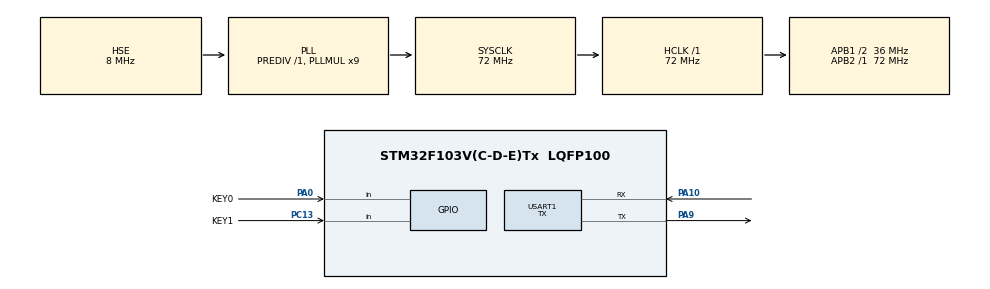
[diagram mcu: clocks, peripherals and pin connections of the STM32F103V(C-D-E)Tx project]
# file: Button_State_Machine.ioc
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FREERTOS.Tasks01=Task1,24,128,StartTask1,Default,NULL,Dynamic,NULL,NULL
Mcu.Family=STM32F1
Mcu.Name=STM32F103V(C-D-E)Tx
Mcu.Package=LQFP100
NVIC.PriorityGroup=NVIC_PRIORITYGROUP_4
NVIC.TIM1_UP_IRQn=true\:5\:0\:false\:false\:true\:true\:true\:true
NVIC.TIM8_UP_IRQn=true\:15\:0\:false\:false\:true\:false\:false\:true
NVIC.TimeBase=TIM8_UP_IRQn
NVIC.TimeBaseIP=TIM8
OSC_IN.Mode=HSE-External-Oscillator
OSC_IN.Signal=RCC_OSC_IN
OSC_OUT.Mode=HSE-External-Oscillator
OSC_OUT.Signal=RCC_OSC_OUT
PA0-WKUP.GPIO_Label=KEY0
PA0-WKUP.GPIO_PuPd=GPIO_PULLDOWN
PA0-WKUP.Signal=GPIO_Input
PA10.Mode=Asynchronous
PA10.Signal=USART1_RX
PA13.Mode=Serial_Wire
PA13.Signal=SYS_JTMS-SWDIO
PA14.Mode=Serial_Wire
PA14.Signal=SYS_JTCK-SWCLK
PA9.Mode=Asynchronous
PA9.Signal=USART1_TX
PC13-TAMPER-RTC.GPIO_Label=KEY1
PC13-TAMPER-RTC.GPIO_PuPd=GPIO_PULLDOWN
PC13-TAMPER-RTC.Signal=GPIO_Input
ProjectManager.HeapSize=0x200
ProjectManager.StackSize=0x400
ProjectManager.TargetToolchain=MDK-ARM V5.32
RCC.AHBFreq_Value=72000000
RCC.APB1CLKDivider=RCC_HCLK_DIV2
RCC.APB1Freq_Value=36000000
RCC.APB1TimFreq_Value=72000000
RCC.APB2Freq_Value=72000000
RCC.APB2TimFreq_Value=72000000
RCC.HCLKFreq_Value=72000000
RCC.PLLMUL=RCC_PLL_MUL9
RCC.PLLSourceVirtual=RCC_PLLSOURCE_HSE
RCC.SYSCLKFreq_VALUE=72000000
RCC.SYSCLKSource=RCC_SYSCLKSOURCE_PLLCLK
RCC.USBFreq_Value=72000000
TIM1.AutoReloadPreload=TIM_AUTORELOAD_PRELOAD_ENABLE
TIM1.Period=7199
TIM1.Prescaler=499
USART1.Mode=MODE_TX
USART1.VirtualMode=VM_ASYNC
VP_FREERTOS_VS_CMSIS_V2.Mode=CMSIS_V2
VP_SYS_VS_tim8.Mode=TIM8
VP_TIM1_VS_ClockSourceINT.Mode=Internal
board=custom

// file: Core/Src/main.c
/* USER CODE BEGIN Header */
/**
  ******************************************************************************
  * @file           : main.c
  * @brief          : Main program body
  ******************************************************************************
  * @attention
  *
  * <h2><center>&copy; Copyright (c) 2021 STMicroelectronics.
  * All rights reserved.</center></h2>
  *
  * This software component is licensed by ST under Ultimate Liberty license
  * SLA0044, the "License"; You may not use this file except in compliance with
  * the License. You may obtain a copy of the License at:
  *                             www.st.com/SLA0044
  *
  ******************************************************************************
  */
/* USER CODE END Header */
#include "main.h"
#include "cmsis_os.h"
#include "tim.h"
#include "usart.h"
#include "gpio.h"

/* USER CODE BEGIN Includes */
#include "mykey.h"
#include "task.h"
/* USER CODE END Includes */

/* USER CODE BEGIN PV */
extern osThreadId_t Task1Handle;
/* USER CODE END PV */

void SystemClock_Config(void);
void MX_FREERTOS_Init(void);

/* USER CODE BEGIN 0 */
/* 告知连接器不从C库链接使用半主机的函数 */
#pragma import(__use_no_semihosting)
/* 定义 _sys_exit() 以避免使用半主机模式 */
void _sys_exit(int x)
{
    x = x;
}
/* 标准库需要的支持类型 */
struct __FILE
{
    int handle;
};

FILE __stdout;

/*重定向printf*/
#ifdef __GNUC__
#define PUTCHAR_PROTOTYPE int __io_putchar(int ch)
#else
#define PUTCHAR_PROTOTYPE int fputc(int ch, FILE *f)
#endif
PUTCHAR_PROTOTYPE
{
    HAL_UART_Transmit(&huart1 , (uint8_t *)&ch, 1, 0xFFFF);
    return ch;
}
/* USER CODE END 0 */

int main(void)
{

  /* MCU Configuration--------------------------------------------------------*/

  /* Reset of all peripherals, Initializes the Flash interface and the Systick. */
  HAL_Init();

  /* Configure the system clock */
  SystemClock_Config();

  /* Initialize all configured peripherals */
  MX_GPIO_Init();
  MX_USART1_UART_Init();
  MX_TIM1_Init();
  /* USER CODE BEGIN 2 */
	KEY_Init();
	HAL_TIM_Base_Start_IT(&htim1);
  /* USER CODE END 2 */

  /* Init scheduler */
  osKernelInitialize();  /* Call init function for freertos objects (in freertos.c) */
  MX_FREERTOS_Init();

  /* Start scheduler */
  osKernelStart();

  /* We should never get here as control is now taken by the scheduler */
  /* Infinite loop */
  while (1)
  {

  }
}

void SystemClock_Config(void)
{
  RCC_OscInitTypeDef RCC_OscInitStruct = {0};
  RCC_ClkInitTypeDef RCC_ClkInitStruct = {0};

  /** Initializes the RCC Oscillators according to the specified parameters
  * in the RCC_OscInitTypeDef structure.
  */
  RCC_OscInitStruct.OscillatorType = RCC_OSCILLATORTYPE_HSE;
  RCC_OscInitStruct.HSEState = RCC_HSE_ON;
  RCC_OscInitStruct.HSEPredivValue = RCC_HSE_PREDIV_DIV1;
  RCC_OscInitStruct.HSIState = RCC_HSI_ON;
  RCC_OscInitStruct.PLL.PLLState = RCC_PLL_ON;
  RCC_OscInitStruct.PLL.PLLSource = RCC_PLLSOURCE_HSE;
  RCC_OscInitStruct.PLL.PLLMUL = RCC_PLL_MUL9;
  if (HAL_RCC_OscConfig(&RCC_OscInitStruct) != HAL_OK)
  {
    Error_Handler();
  }
  /** Initializes the CPU, AHB and APB buses clocks
  */
  RCC_ClkInitStruct.ClockType = RCC_CLOCKTYPE_HCLK|RCC_CLOCKTYPE_SYSCLK
                              |RCC_CLOCKTYPE_PCLK1|RCC_CLOCKTYPE_PCLK2;
  RCC_ClkInitStruct.SYSCLKSource = RCC_SYSCLKSOURCE_PLLCLK;
  RCC_ClkInitStruct.AHBCLKDivider = RCC_SYSCLK_DIV1;
  RCC_ClkInitStruct.APB1CLKDivider = RCC_HCLK_DIV2;
  RCC_ClkInitStruct.APB2CLKDivider = RCC_HCLK_DIV1;

  if (HAL_RCC_ClockConfig(&RCC_ClkInitStruct, FLASH_LATENCY_2) != HAL_OK)
  {
    Error_Handler();
  }
}

void HAL_TIM_PeriodElapsedCallback(TIM_HandleTypeDef *htim)
{
  if (htim->Instance == TIM8) {
    HAL_IncTick();
  }
  /* USER CODE BEGIN Callback 1 */
	if(htim->Instance == TIM1)
	{
		if ( Task1Handle != NULL )
		{
		  BaseType_t xHigherPriorityTaskWoken;
		  vTaskNotifyGiveFromISR( Task1Handle, &xHigherPriorityTaskWoken );
	    portYIELD_FROM_ISR ( xHigherPriorityTaskWoken );
		}
	}
  /* USER CODE END Callback 1 */
}

void Error_Handler(void)
{
  __disable_irq();
  while (1)
  {
  }
}

/************************ (C) COPYRIGHT STMicroelectronics *****END OF FILE****/

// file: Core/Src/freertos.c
/* USER CODE BEGIN Header */
/**
  ******************************************************************************
  * File Name          : freertos.c
  * Description        : Code for freertos applications
  ******************************************************************************
  * @attention
  *
  * <h2><center>&copy; Copyright (c) 2021 STMicroelectronics.
  * All rights reserved.</center></h2>
  *
  * This software component is licensed by ST under Ultimate Liberty license
  * SLA0044, the "License"; You may not use this file except in compliance with
  * the License. You may obtain a copy of the License at:
  *                             www.st.com/SLA0044
  *
  ******************************************************************************
  */
/* USER CODE END Header */

#include "FreeRTOS.h"
#include "task.h"
#include "main.h"
#include "cmsis_os.h"

/* USER CODE BEGIN Includes */
#include "mykey.h"
/* USER CODE END Includes */

/* Definitions for Task1 */
osThreadId_t Task1Handle = NULL;
const osThreadAttr_t Task1_attributes = {
  .name = "Task1",
  .stack_size = 128 * 4,
  .priority = (osPriority_t) osPriorityNormal,
};

void StartTask1(void *argument);

void MX_FREERTOS_Init(void); /* (MISRA C 2004 rule 8.1) */

void MX_FREERTOS_Init(void) {

  /* Create the thread(s) */
  /* creation of Task1 */
  Task1Handle = osThreadNew(StartTask1, NULL, &Task1_attributes);

}

void StartTask1(void *argument)
{
  /* USER CODE BEGIN StartTask1 */
  /* Infinite loop */
  for(;;)
  {
		ulTaskNotifyTake ( pdTRUE, portMAX_DELAY );
		Key_CallBack ();
    osDelay(1);
  }
  /* USER CODE END StartTask1 */
}

/************************ (C) COPYRIGHT STMicroelectronics *****END OF FILE****/
